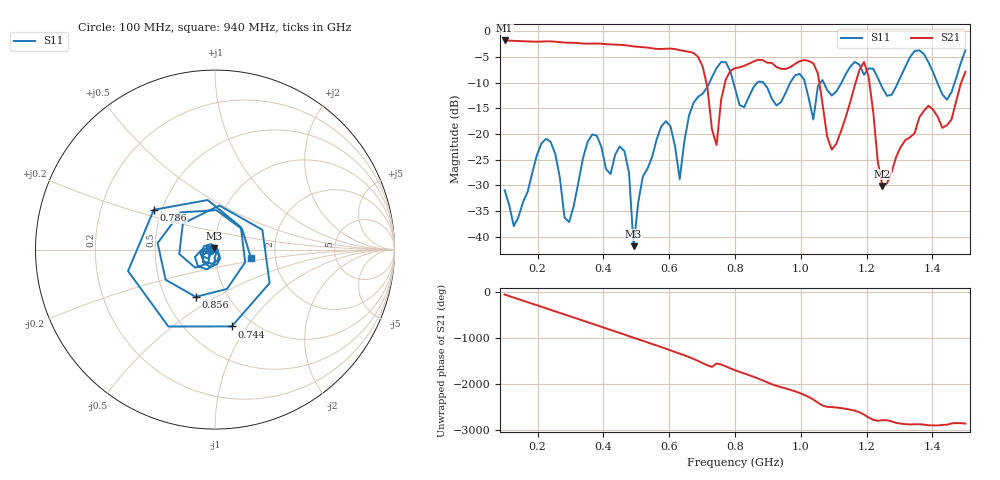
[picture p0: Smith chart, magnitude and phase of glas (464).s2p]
! NanoVNA-App
! Date: 2025-09-25 15:59:05
! Start: 100MHz Stop: 1,5GHz Points: 101
! S-Parameter data: F S11 S21 S12 S22
# Hz S RI R 50
!  Frequency  S11_Real  S11_Imag  S21_Real  S21_Imag  S12_Real  S12_Imag  S22_Real  S22_Imag
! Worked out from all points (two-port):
!   101 points, 100 MHz to 1.5 GHz, reference 50 ohm
!   highest |S21| = -1.80 dB at 100 MHz (marker M1); lowest = -30.1 dB at 1.248 GHz (marker M2)
!   |S21| within 3 dB of the highest: start of sweep to 684.4 MHz
!   lowest |S11| = -41.8 dB at 492 MHz (marker M3), VSWR 1.02, Z = 49.5 + j0.629 ohm
!   |S11| at or under -10 dB: start of sweep to 722.4 MHz; 795.4 MHz to 867.9 MHz (72.57 MHz wide, 8.73 % of centre); 885.9 MHz to 967.9 MHz (82.05 MHz wide, 8.85 % of centre) (the widest 3 of 7)
!   S12 and S22 are empty: the file has one direction only
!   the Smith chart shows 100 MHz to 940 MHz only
!   S11 on the Smith chart (normalised r, x): 100 MHz: 0.95, -0.01; 744 MHz: 0.80, -0.85; 786 MHz: 0.45, +0.24; 856 MHz: 0.71, -0.41; 940 MHz: 1.49, -0.14
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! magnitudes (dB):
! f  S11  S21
! 100 MHz  -30.9  -1.8
! 128 MHz  -37.9  -1.9
! 226 MHz  -20.9  -2.0
! 296 MHz  -37.1  -2.2
! 338 MHz  -24.7  -2.4
! 464 MHz  -23.3  -2.7
! 492 MHz  -41.8  -3.0
! 576 MHz  -18.5  -3.5
! 632 MHz  -28.8  -3.7
! 702 MHz  -12.1  -6.9
! 744 MHz  -7.2  -22.2
! 786 MHz  -7.8  -7.7
! 800 MHz  -11.1  -7.2
! 856 MHz  -10.9  -5.9
! 940 MHz  -13.8  -7.3
! 1.038 GHz  -17.2  -6.2
! 1.094 GHz  -12.5  -23.0
! 1.192 GHz  -8.5  -6.0
! 1.248 GHz  -11.1  -30.1
! 1.276 GHz  -12.4  -27.4
! 1.444 GHz  -13.3  -18.3
! 1.5 GHz  -3.7  -7.9
